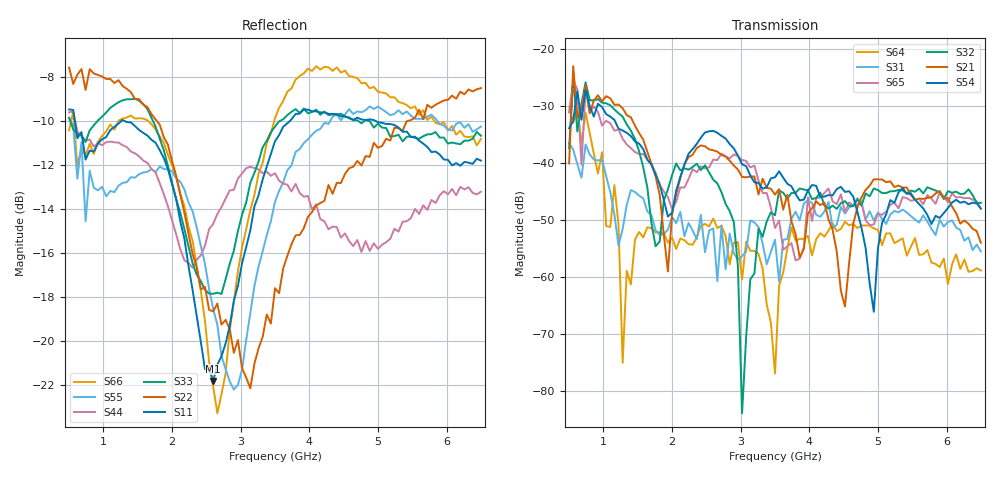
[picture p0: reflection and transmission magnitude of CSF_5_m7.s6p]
!Keysight Technologies,M9804A,MY58100912,A.14.10.03
!Date: Thursday, April 27, 2023 10:28:33
!Correction: S11(C  6-Port  )
!S12(C  6-Port  )
!S13(C  6-Port  )
!S14(C  6-Port  )
!S15(C  6-Port  )
!S16(C  6-Port  )
!S21(C  6-Port  )
!S22(C  6-Port  )
!S23(C  6-Port  )
!S24(C  6-Port  )
!S25(C  6-Port  )
!S26(C  6-Port  )
!S31(C  6-Port  )
!S32(C  6-Port  )
!S33(C  6-Port  )
!S34(C  6-Port  )
!S35(C  6-Port  )
!S36(C  6-Port  )
!S41(C  6-Port  )
!S42(C  6-Port  )
!S43(C  6-Port  )
!S44(C  6-Port  )
!S45(C  6-Port  )
!S46(C  6-Port  )
!S51(C  6-Port  )
!S52(C  6-Port  )
!S53(C  6-Port  )
!S54(C  6-Port  )
!S55(C  6-Port  )
!S56(C  6-Port  )
!S61(C  6-Port  )
!S62(C  6-Port  )
!S63(C  6-Port  )
!S64(C  6-Port  )
!S65(C  6-Port  )
!S66(C  6-Port  )
!S6P File: Measurement: :
# Hz S  RI  R 50
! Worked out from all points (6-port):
!   101 points, 500 MHz to 6.5 GHz, reference 50 ohm
!   strongest paths, dB at 500 MHz, 2 GHz, 3.5 GHz, 5 GHz, 6.5 GHz:
!     S54: -33.8, -48.7, -42.5, -55.0, -48.0
!     S21: -40.0, -49.0, -45.5, -42.8, -53.9
!     S32: -37.4, -42.1, -49.1, -44.7, -47.0
!     S65: -31.0, -48.0, -51.4, -48.8, -47.9
!     S31: -36.4, -49.4, -53.4, -48.6, -55.5
!     S64: -30.0, -53.0, -76.9, -51.7, -58.8
!   lowest |S11| = -21.8 dB at 2.6 GHz (marker M1), VSWR 1.18, Z = 42.7 + j1.9 ohm
!   |S11| at or under -10 dB: 582.7 MHz to 1.27 GHz (687.4 MHz wide, 74.2 % of centre); 1.297 GHz to 3.721 GHz (2.424 GHz wide, 96.6 % of centre); 4.957 GHz to end of sweep
